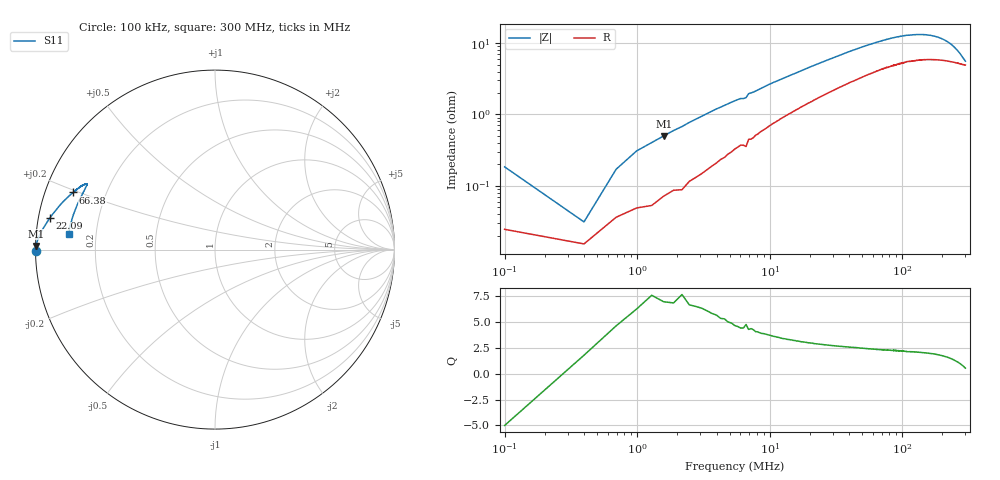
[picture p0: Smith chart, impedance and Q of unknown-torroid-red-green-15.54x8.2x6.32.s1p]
# HZ S RI R 50
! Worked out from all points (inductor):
!   1010 points, 100 kHz to 300 MHz, reference 50 ohm
!   read as one part to ground: L = 49.1 nH near 1.586 MHz
!   highest Q = 5.65 at 1.586 MHz (marker M1), where L = 49.7 nH
!   S11 on the Smith chart (normalised r, x): 100 kHz: 0.00, -0.00; 22.09 MHz: 0.03, +0.09; 66.38 MHz: 0.08, +0.19; 300 MHz: 0.10, +0.05
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100000  -0.999 -0.00729
1586100  -0.997 0.0197
2477800  -0.9949 0.0304
4261100  -0.9895 0.0492
1.05028e7  -0.9655 0.1034
1.61501e7  -0.9436 0.141
2.20946e7  -0.9214 0.1743
3.011972e7  -0.8933 0.2124
3.784752e7  -0.8676 0.2428
4.349482e7  -0.85 0.262
5.151992e7  -0.8273 0.2855
5.895052e7  -0.8079 0.3029
6.638115e7  -0.7902 0.3186
7.529785e7  -0.7724 0.3335
8.688965e7  -0.754 0.3492
9.818418e7  -0.7381 0.3592
1.088843e8  -0.7255 0.3629
1.127482e8  -0.7241 0.3632
1.290956e8  -0.7158 0.3662
1.501986e8  -0.714 0.3601
1.656542e8  -0.7183 0.3499
1.87649e8  -0.7294 0.3274
2.078602e8  -0.744 0.2992
2.250993e8  -0.7587 0.2697
2.456078e8  -0.7762 0.228
2.625496e8  -0.7906 0.1887
2.854359e8  -0.8085 0.1288
2.999999e8  -0.8161 0.0862
